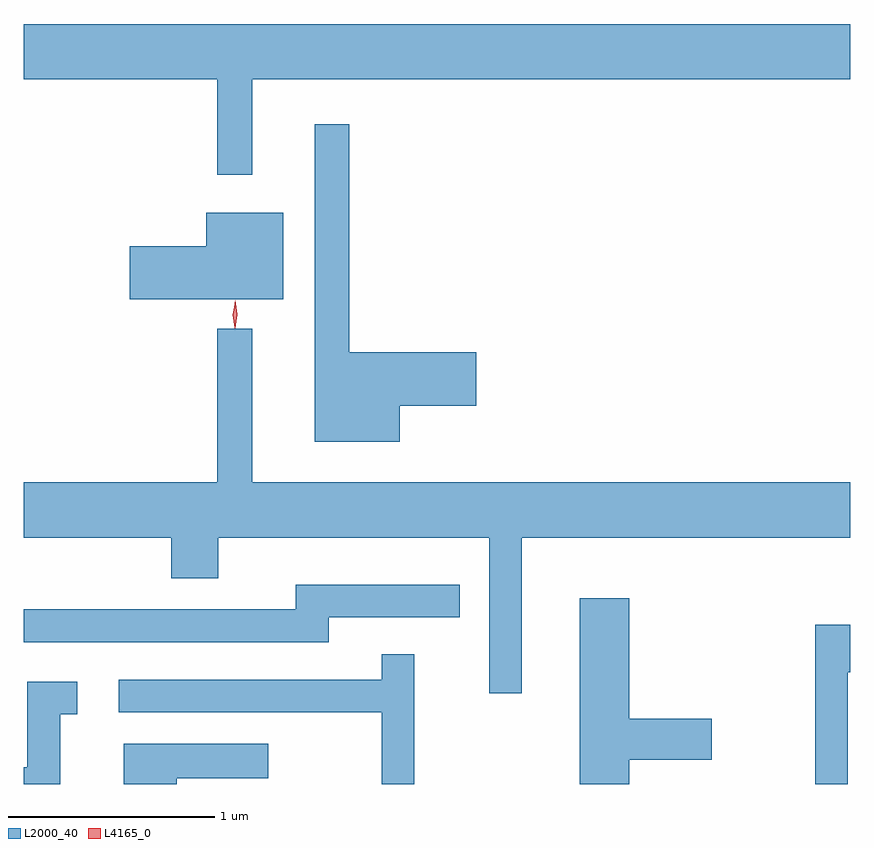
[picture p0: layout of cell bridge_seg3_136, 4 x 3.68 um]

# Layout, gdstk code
import gdstk
lib = gdstk.Library(unit=1e-6, precision=1e-09)
def P(c, l, *ps):  # polygons
    for p in ps: c.add(gdstk.Polygon(p, *l))
L2000_40 = (2000, 40)
L4165_0 = (4165, 0)

bridge_seg3_136 = lib.new_cell('bridge_seg3_136')
P(bridge_seg3_136, L2000_40, [(822.319,1201.496),(825.214,1201.496),(825.214,1201.764),(821.214,1201.764),(821.214,1201.496),(822.151,1201.496),(822.151,1201.033),(822.319,1201.033)],
  [(823.034,1199.916),(823.404,1199.916),(823.404,1200.174),(822.789,1200.174),(822.789,1201.278),(822.621,1201.278),(822.621,1199.741),(823.034,1199.741)],
  [(822.469,1200.849),(822.096,1200.849),(822.096,1200.689),(821.726,1200.689),(821.726,1200.431),(822.469,1200.431)],
  [(823.624,1199.276),(825.214,1199.276),(825.214,1199.544),(822.319,1199.544),(822.319,1200.288),(822.151,1200.288),(822.151,1199.544),(821.214,1199.544),(821.214,1199.276),(821.926,1199.276),(821.926,1199.081),(822.154,1199.081),(822.154,1199.276),(823.466,1199.276),(823.466,1198.523),(823.624,1198.523)],
  [(822.689,1198.891),(823.323,1198.891),(823.323,1199.049),(822.531,1199.049),(822.531,1198.929),(821.214,1198.929),(821.214,1198.771),(822.689,1198.771)],
  [(824.144,1198.201),(824.544,1198.201),(824.544,1198.399),(824.144,1198.399),(824.144,1198.984),(823.906,1198.984),(823.906,1198.084),(824.144,1198.084)],
  [(825.204,1198.626),(825.214,1198.626),(825.214,1198.854),(825.046,1198.854),(825.046,1198.084),(825.204,1198.084)],
  [(823.104,1198.713),(822.946,1198.713),(822.946,1198.589),(821.673,1198.589),(821.673,1198.431),(822.946,1198.431),(822.946,1198.084),(823.104,1198.084)],
  [(821.389,1198.421),(821.473,1198.421),(821.473,1198.579),(821.231,1198.579),(821.231,1198.164),(821.214,1198.164),(821.214,1198.084),(821.389,1198.084)],
  [(821.954,1198.111),(822.398,1198.111),(822.398,1198.279),(821.696,1198.279),(821.696,1198.084),(821.954,1198.084)])
P(bridge_seg3_136, L4165_0, [(822.235,1200.29),(822.227,1200.358),(822.237,1200.426),(822.238,1200.426),(822.238,1200.426),(822.247,1200.358),(822.236,1200.29),(822.236,1200.29)],
  [(822.235,1200.293),(822.235,1200.293),(822.226,1200.356),(822.237,1200.419),(822.237,1200.42),(822.238,1200.419),(822.246,1200.356),(822.236,1200.293)])

lib.write_gds('bridge_seg3_136.gds')
